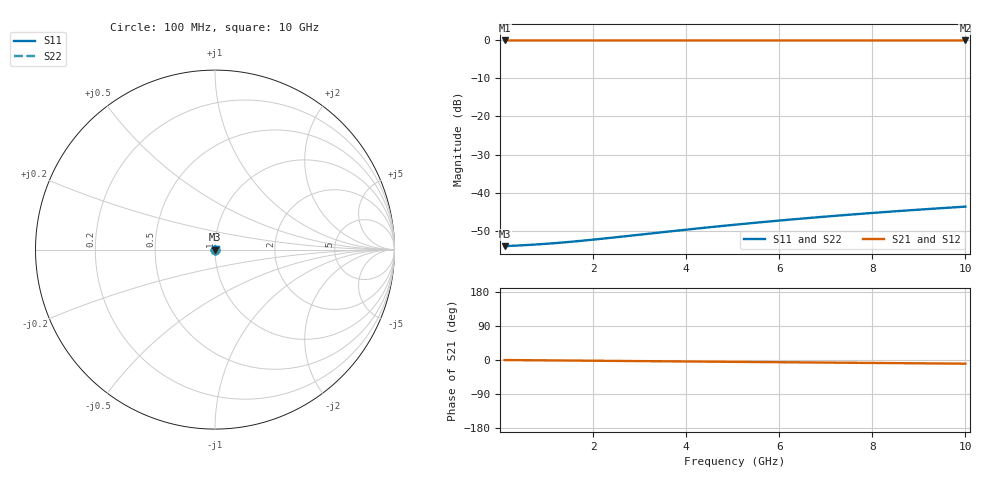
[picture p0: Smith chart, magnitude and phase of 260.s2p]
# Hz S RI R 50.00
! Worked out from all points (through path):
!   100 points, 100 MHz to 10 GHz, reference 50 ohm
!   highest |S21| = -0.02 dB at 100 MHz (marker M1); lowest = 0.0 dB at 10 GHz (marker M2)
!   group delay of S21, straight-line fit = 2.7 ps
!   lowest |S11| = -54.1 dB at 100 MHz (marker M3), VSWR 1.00, Z = 50.2 + j0.00595 ohm
!   |S11| at or under -10 dB: start of sweep to end of sweep
!   |S22| runs from -54.1 to -43.7 dB; largest |S21 - S12| = 0
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1e8  0.00197 5.93e-05  0.998 -0.00169  0.998 -0.00169  0.00197 5.93e-05
6e8  0.00202 0.000355  0.9979 -0.0101  0.9979 -0.0101  0.00202 0.000355
8e8  0.00203 0.000473  0.9979 -0.0135  0.9979 -0.0135  0.00203 0.000473
1e9  0.00204 0.000591  0.9978 -0.0169  0.9978 -0.0169  0.00204 0.000591
1.2e9  0.00205 0.000709  0.9977 -0.0203  0.9977 -0.0203  0.00205 0.000709
1.4e9  0.00206 0.000827  0.9977 -0.0236  0.9977 -0.0236  0.00206 0.000827
1.8e9  0.00209 0.00106  0.9975 -0.0304  0.9975 -0.0304  0.00209 0.00106
2.1e9  0.0021 0.00124  0.9973 -0.0354  0.9973 -0.0354  0.0021 0.00124
2.4e9  0.00212 0.00141  0.9971 -0.0405  0.9971 -0.0405  0.00212 0.00141
3.4e9  0.0022 0.002  0.9962 -0.0574  0.9962 -0.0574  0.0022 0.002
4.3e9  0.00228 0.00252  0.9952 -0.0725  0.9952 -0.0725  0.00228 0.00252
4.7e9  0.00232 0.00275  0.9947 -0.0793  0.9947 -0.0793  0.00232 0.00275
5.1e9  0.00237 0.00298  0.9941 -0.086  0.9941 -0.086  0.00237 0.00298
5.5e9  0.00242 0.00321  0.9935 -0.0927  0.9935 -0.0927  0.00242 0.00321
5.9e9  0.00247 0.00344  0.9928 -0.0995  0.9928 -0.0995  0.00247 0.00344
6.3e9  0.00252 0.00367  0.9921 -0.1062  0.9921 -0.1062  0.00252 0.00367
6.7e9  0.00258 0.00389  0.9913 -0.1129  0.9913 -0.1129  0.00258 0.00389
7.5e9  0.0027 0.00434  0.9897 -0.1263  0.9897 -0.1263  0.0027 0.00434
7.9e9  0.00277 0.00457  0.9888 -0.133  0.9888 -0.133  0.00277 0.00457
8.4e9  0.00286 0.00484  0.9876 -0.1414  0.9876 -0.1414  0.00286 0.00484
9.2e9  0.00301 0.00528  0.9856 -0.1548  0.9856 -0.1548  0.00301 0.00528
1e10  0.00317 0.00572  0.9834 -0.1682  0.9834 -0.1682  0.00317 0.00572
